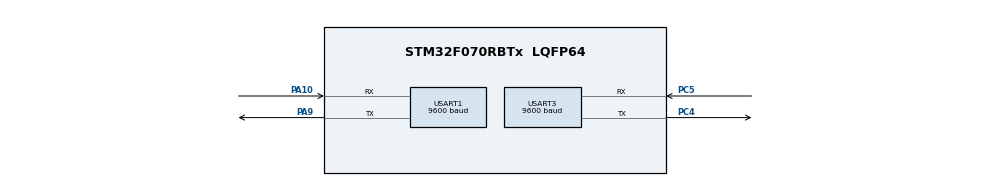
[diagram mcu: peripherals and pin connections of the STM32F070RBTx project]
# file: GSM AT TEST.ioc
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Mcu.Family=STM32F0
Mcu.Name=STM32F070RBTx
Mcu.Package=LQFP64
PA10.Mode=Asynchronous
PA10.Signal=USART1_RX
PA9.Mode=Asynchronous
PA9.Signal=USART1_TX
PC4.Mode=Asynchronous
PC4.Signal=USART3_TX
PC5.Mode=Asynchronous
PC5.Signal=USART3_RX
ProjectManager.HeapSize=0x200
ProjectManager.StackSize=0x400
ProjectManager.TargetToolchain=MDK-ARM V5
USART1.BaudRate=9600
USART1.VirtualMode-Asynchronous=VM_ASYNC
USART1.WordLength=WORDLENGTH_8B
USART3.BaudRate=9600
USART3.VirtualMode-Asynchronous=VM_ASYNC
USART3.WordLength=WORDLENGTH_8B
board=GSM AT TEST

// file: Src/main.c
/**
  ******************************************************************************
  * File Name          : main.c
  * Description        : Main program body
  ******************************************************************************
  ** This notice applies to any and all portions of this file
  * that are not between comment pairs USER CODE BEGIN and
  * USER CODE END. Other portions of this file, whether
  * inserted by the user or by software development tools
  * are owned by their respective copyright owners.
  *
  * COPYRIGHT(c) 2017 STMicroelectronics
  *
  * Redistribution and use in source and binary forms, with or without modification,
  * are permitted provided that the following conditions are met:
  *   1. Redistributions of source code must retain the above copyright notice,
  *      this list of conditions and the following disclaimer.
  *   2. Redistributions in binary form must reproduce the above copyright notice,
  *      this list of conditions and the following disclaimer in the documentation
  *      and/or other materials provided with the distribution.
  *   3. Neither the name of STMicroelectronics nor the names of its contributors
  *      may be used to endorse or promote products derived from this software
  *      without specific prior written permission.
  *
  * THIS SOFTWARE IS PROVIDED BY THE COPYRIGHT HOLDERS AND CONTRIBUTORS "AS IS"
  * AND ANY EXPRESS OR IMPLIED WARRANTIES, INCLUDING, BUT NOT LIMITED TO, THE
  * IMPLIED WARRANTIES OF MERCHANTABILITY AND FITNESS FOR A PARTICULAR PURPOSE ARE
  * DISCLAIMED. IN NO EVENT SHALL THE COPYRIGHT HOLDER OR CONTRIBUTORS BE LIABLE
  * FOR ANY DIRECT, INDIRECT, INCIDENTAL, SPECIAL, EXEMPLARY, OR CONSEQUENTIAL
  * DAMAGES (INCLUDING, BUT NOT LIMITED TO, PROCUREMENT OF SUBSTITUTE GOODS OR
  * SERVICES; LOSS OF USE, DATA, OR PROFITS; OR BUSINESS INTERRUPTION) HOWEVER
  * CAUSED AND ON ANY THEORY OF LIABILITY, WHETHER IN CONTRACT, STRICT LIABILITY,
  * OR TORT (INCLUDING NEGLIGENCE OR OTHERWISE) ARISING IN ANY WAY OUT OF THE USE
  * OF THIS SOFTWARE, EVEN IF ADVISED OF THE POSSIBILITY OF SUCH DAMAGE.
  *
  ******************************************************************************
  */
#include "main.h"
#include "stm32f0xx_hal.h"

UART_HandleTypeDef huart1;
UART_HandleTypeDef huart3;

/* USER CODE BEGIN PV */
/* Private variables ---------------------------------------------------------*/

/* USER CODE END PV */

void SystemClock_Config(void);
static void MX_GPIO_Init(void);
static void MX_USART1_UART_Init(void);
static void MX_USART3_UART_Init(void);

/* USER CODE BEGIN PFP */
/* Private function prototypes -----------------------------------------------*/
unsigned char ch;
char buffer[50];
int i=0;
/* USER CODE END PFP */

/* USER CODE BEGIN 0 */
void HAL_UART_RxCpltCallback(UART_HandleTypeDef *huart)
{
  /* Prevent unused argument(s) compilation warning */
  UNUSED(huart);
if(huart->Instance==USART1)
{

}
  /* NOTE : This function should not be modified, when the callback is needed,
            the HAL_UART_RxCpltCallback can be implemented in the user file.
   */
}

void gsmmakecall()
{
HAL_UART_Transmit(&huart1,"AT\r\n",3,100);
HAL_Delay(1000);

sprintf(buffer,"ATD+918285884700;\r\n");
i=strlen(buffer);
for(int j=0;j<=i;j++)
{
//HAL_UART_Transmit(&huart1,&buffer[j],1,20);
HAL_UART_Transmit(&huart3,&buffer[j],1,20);
}
HAL_Delay(20000);
}

void gsmtext()
{
HAL_UART_Transmit(&huart3,"AT\r\n",3,10);
HAL_Delay(1000);

HAL_UART_Transmit(&huart3,"AT+CMGF=1\r\n",10,10);
HAL_Delay(2000);

sprintf(buffer,"AT+CMGS=\"+918285884700\"\r\n");
i=strlen(buffer);
for(int j=0;j<=i;j++)
{
HAL_UART_Transmit(&huart3,&buffer[j],1,20);
}
HAL_Delay(2000);

sprintf(buffer,"hello gsm\r\n\x1A");
i=strlen(buffer);
for(int j=0;j<=i;j++)
{
HAL_UART_Transmit(&huart3,&buffer[j],1,20);
}
HAL_Delay(2000);

}
/* USER CODE END 0 */

int main(void)
{

  /* MCU Configuration----------------------------------------------------------*/

  /* Reset of all peripherals, Initializes the Flash interface and the Systick. */
  HAL_Init();

  /* Configure the system clock */
  SystemClock_Config();

  /* Initialize all configured peripherals */
  MX_GPIO_Init();
  MX_USART1_UART_Init();
  MX_USART3_UART_Init();

  /* USER CODE BEGIN 2 */
//gsmmakecall();
gsmtext();
  /* USER CODE END 2 */

  /* Infinite loop */
  while (1)
  {

  /* USER CODE BEGIN 3 */

/*
HAL_UART_Transmit(&huart1,"AT\r\n",3,10);
HAL_Delay(1000);
HAL_UART_Transmit(&huart1,"AT+CMGF=1\r\n",10,10);
//HAL_UART_Transmit(&huart3,"AT+CMGF=1\r\n",10,10);
HAL_Delay(2000);

sprintf(buffer,"AT+CMGS=\"+918285884700\"\r\n");
i=strlen(buffer);
for(int j=0;j<=i;j++)
{
HAL_UART_Transmit(&huart1,&buffer[j],1,20);
//HAL_UART_Transmit(&huart3,&buffer[j],1,20);
}
HAL_Delay(2000);

sprintf(buffer,"hello gsm\r\n\x1A");
i=strlen(buffer);
for(int j=0;j<=i;j++)
{
HAL_UART_Transmit(&huart1,&buffer[j],1,20);
//HAL_UART_Transmit(&huart3,&buffer[j],1,20);
}
HAL_Delay(2000);
//HAL_UART_Transmit(&huart1,"hello\r\n",6,10);
//HAL_UART_Transmit(&huart1,"0x1A\r\n",6,10);
//HAL_Delay(2000);

//HAL_UART_Transmit(&huart1,"",5,10);
//HAL_UART_Transmit(&huart3,"0x1A\r\n",5,10);
//HAL_Delay(5000);*/
  }
  /* USER CODE END 3 */

}

/** System Clock Configuration
*/
void SystemClock_Config(void)
{

  RCC_OscInitTypeDef RCC_OscInitStruct;
  RCC_ClkInitTypeDef RCC_ClkInitStruct;
  RCC_PeriphCLKInitTypeDef PeriphClkInit;

    /**Initializes the CPU, AHB and APB busses clocks
    */
  RCC_OscInitStruct.OscillatorType = RCC_OSCILLATORTYPE_HSI;
  RCC_OscInitStruct.HSIState = RCC_HSI_ON;
  RCC_OscInitStruct.HSICalibrationValue = 16;
  RCC_OscInitStruct.PLL.PLLState = RCC_PLL_NONE;
  if (HAL_RCC_OscConfig(&RCC_OscInitStruct) != HAL_OK)
  {
    _Error_Handler(__FILE__, __LINE__);
  }

    /**Initializes the CPU, AHB and APB busses clocks
    */
  RCC_ClkInitStruct.ClockType = RCC_CLOCKTYPE_HCLK|RCC_CLOCKTYPE_SYSCLK
                              |RCC_CLOCKTYPE_PCLK1;
  RCC_ClkInitStruct.SYSCLKSource = RCC_SYSCLKSOURCE_HSI;
  RCC_ClkInitStruct.AHBCLKDivider = RCC_SYSCLK_DIV1;
  RCC_ClkInitStruct.APB1CLKDivider = RCC_HCLK_DIV1;

  if (HAL_RCC_ClockConfig(&RCC_ClkInitStruct, FLASH_LATENCY_0) != HAL_OK)
  {
    _Error_Handler(__FILE__, __LINE__);
  }

  PeriphClkInit.PeriphClockSelection = RCC_PERIPHCLK_USART1;
  PeriphClkInit.Usart1ClockSelection = RCC_USART1CLKSOURCE_PCLK1;
  if (HAL_RCCEx_PeriphCLKConfig(&PeriphClkInit) != HAL_OK)
  {
    _Error_Handler(__FILE__, __LINE__);
  }

    /**Configure the Systick interrupt time
    */
  HAL_SYSTICK_Config(HAL_RCC_GetHCLKFreq()/1000);

    /**Configure the Systick
    */
  HAL_SYSTICK_CLKSourceConfig(SYSTICK_CLKSOURCE_HCLK);

  /* SysTick_IRQn interrupt configuration */
  HAL_NVIC_SetPriority(SysTick_IRQn, 0, 0);
}

/* USART1 init function */
static void MX_USART1_UART_Init(void)
{

  huart1.Instance = USART1;
  huart1.Init.BaudRate = 9600;
  huart1.Init.WordLength = UART_WORDLENGTH_8B;
  huart1.Init.StopBits = UART_STOPBITS_1;
  huart1.Init.Parity = UART_PARITY_NONE;
  huart1.Init.Mode = UART_MODE_TX_RX;
  huart1.Init.HwFlowCtl = UART_HWCONTROL_NONE;
  huart1.Init.OverSampling = UART_OVERSAMPLING_16;
  huart1.Init.OneBitSampling = UART_ONE_BIT_SAMPLE_DISABLE;
  huart1.AdvancedInit.AdvFeatureInit = UART_ADVFEATURE_NO_INIT;
  if (HAL_UART_Init(&huart1) != HAL_OK)
  {
    _Error_Handler(__FILE__, __LINE__);
  }

}

/* USART3 init function */
static void MX_USART3_UART_Init(void)
{

  huart3.Instance = USART3;
  huart3.Init.BaudRate = 9600;
  huart3.Init.WordLength = UART_WORDLENGTH_8B;
  huart3.Init.StopBits = UART_STOPBITS_1;
  huart3.Init.Parity = UART_PARITY_NONE;
  huart3.Init.Mode = UART_MODE_TX_RX;
  huart3.Init.HwFlowCtl = UART_HWCONTROL_NONE;
  huart3.Init.OverSampling = UART_OVERSAMPLING_16;
  huart3.Init.OneBitSampling = UART_ONE_BIT_SAMPLE_DISABLE;
  huart3.AdvancedInit.AdvFeatureInit = UART_ADVFEATURE_NO_INIT;
  if (HAL_UART_Init(&huart3) != HAL_OK)
  {
    _Error_Handler(__FILE__, __LINE__);
  }

}

/** Pinout Configuration
*/
static void MX_GPIO_Init(void)
{

  /* GPIO Ports Clock Enable */
  __HAL_RCC_GPIOC_CLK_ENABLE();
  __HAL_RCC_GPIOA_CLK_ENABLE();

}

void _Error_Handler(char * file, int line)
{
  while(1)
  {
  }
}

/************************ (C) COPYRIGHT STMicroelectronics *****END OF FILE****/
